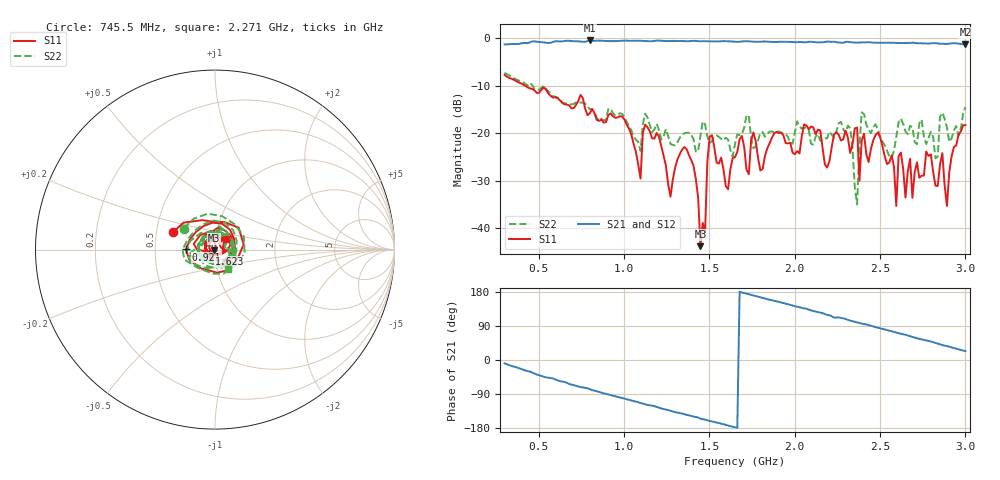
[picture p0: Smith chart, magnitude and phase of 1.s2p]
!CEYEAR,3656B,QZNG000070,1.3.8
!Calibration ON (Full Solt 2-Port(Omit Isolation))
!Measurements: S11 S21 S12 S22
!2025-12-27 10:37
# Hz  S  dB  R 50.000
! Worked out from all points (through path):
!   201 points, 300 MHz to 3 GHz, reference 50 ohm
!   highest |S21| = -0.50 dB at 799.5 MHz (marker M1); lowest = -1.3 dB at 3 GHz (marker M2)
!   group delay of S21, straight-line fit = 329 ps
!   lowest |S11| = -43.8 dB at 1.448 GHz (marker M3), VSWR 1.01, Z = 49.5 - j0.356 ohm
!   |S11| at or under -10 dB: 419.2 MHz to end of sweep
!   |S22| runs from -35.0 to -7.3 dB; largest |S21 - S12| = 0.086
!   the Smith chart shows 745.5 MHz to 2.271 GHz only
!   S11 on the Smith chart (normalised r, x): 745.5 MHz: 0.61, +0.13; 921 MHz: 0.72, +0.00; 1.623 GHz: 0.93, -0.04; 2.271 GHz: 1.12, +0.13
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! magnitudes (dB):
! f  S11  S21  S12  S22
! 300 MHz  -7.8  -1.3  -1.4  -7.3
! 745.5 MHz  -12.0  -0.7  -0.9  -13.6
! 759 MHz  -12.7  -0.8  -0.9  -13.6
! 799.5 MHz  -15.8  -0.5  -0.6  -15.0
! 921 MHz  -15.9  -0.7  -0.8  -14.8
! 1.097 GHz  -29.6  -0.6  -0.7  -23.7
! 1.204 GHz  -20.8  -0.5  -0.6  -19.3
! 1.272 GHz  -33.4  -0.6  -0.7  -22.3
! 1.407 GHz  -26.9  -0.6  -0.7  -21.3
! 1.448 GHz  -43.8  -0.7  -0.7  -20.5
! 1.502 GHz  -20.8  -0.7  -0.7  -22.1
! 1.623 GHz  -27.6  -0.7  -0.8  -23.5
! 1.65 GHz  -25.1  -0.7  -0.8  -22.3
! 2.109 GHz  -18.8  -0.8  -0.9  -22.4
! 2.271 GHz  -21.6  -1.0  -0.9  -17.6
! 2.365 GHz  -18.8  -0.9  -0.9  -35.0
! 2.379 GHz  -30.0  -1.0  -0.9  -22.7
! 2.393 GHz  -21.5  -0.9  -0.9  -15.6
! 2.554 GHz  -26.2  -1.0  -1.0  -25.0
! 2.865 GHz  -24.2  -1.2  -1.2  -15.7
! 2.892 GHz  -35.3  -1.2  -1.1  -18.8
! 3 GHz  -18.3  -1.3  -1.2  -14.5
